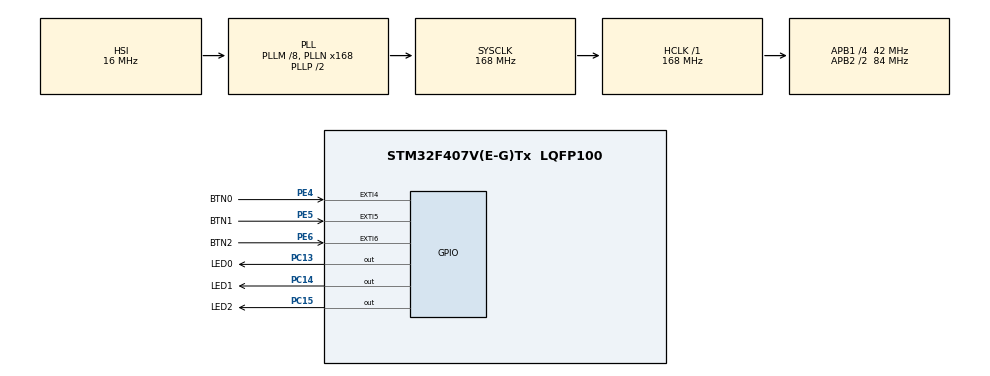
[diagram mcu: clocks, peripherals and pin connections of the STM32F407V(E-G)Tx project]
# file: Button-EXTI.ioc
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Mcu.Family=STM32F4
Mcu.Name=STM32F407V(E-G)Tx
Mcu.Package=LQFP100
NVIC.EXTI4_IRQn=true\:0\:0\:false\:false\:true\:true\:true
NVIC.EXTI9_5_IRQn=true\:0\:0\:false\:false\:true\:true\:true
NVIC.PriorityGroup=NVIC_PRIORITYGROUP_4
PC13-ANTI_TAMP.GPIO_Label=LED0
PC13-ANTI_TAMP.Signal=GPIO_Output
PC14-OSC32_IN.GPIO_Label=LED1
PC14-OSC32_IN.Signal=GPIO_Output
PC15-OSC32_OUT.GPIO_Label=LED2
PC15-OSC32_OUT.Signal=GPIO_Output
PE4.GPIO_Label=BTN0
PE4.GPIO_ModeDefaultEXTI=GPIO_MODE_IT_RISING_FALLING
PE4.GPIO_PuPd=GPIO_PULLUP
PE4.Signal=GPXTI4
PE5.GPIO_Label=BTN1
PE5.GPIO_ModeDefaultEXTI=GPIO_MODE_IT_RISING_FALLING
PE5.GPIO_PuPd=GPIO_PULLUP
PE5.Signal=GPXTI5
PE6.GPIO_Label=BTN2
PE6.GPIO_ModeDefaultEXTI=GPIO_MODE_IT_RISING_FALLING
PE6.GPIO_PuPd=GPIO_PULLUP
PE6.Signal=GPXTI6
ProjectManager.HeapSize=0x200
ProjectManager.StackSize=0x400
ProjectManager.TargetToolchain=MDK-ARM V5.27
RCC.48MHZClocksFreq_Value=84000000
RCC.AHBFreq_Value=168000000
RCC.APB1CLKDivider=RCC_HCLK_DIV4
RCC.APB1Freq_Value=42000000
RCC.APB1TimFreq_Value=84000000
RCC.APB2CLKDivider=RCC_HCLK_DIV2
RCC.APB2Freq_Value=84000000
RCC.APB2TimFreq_Value=168000000
RCC.CortexFreq_Value=168000000
RCC.HCLKFreq_Value=168000000
RCC.HSE_VALUE=25000000
RCC.HSI_VALUE=16000000
RCC.LSE_VALUE=32768
RCC.PLLM=8
RCC.PLLN=168
RCC.SYSCLKFreq_VALUE=168000000
RCC.SYSCLKSource=RCC_SYSCLKSOURCE_PLLCLK
RCC.VCOOutputFreq_Value=336000000
board=custom

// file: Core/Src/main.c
/* USER CODE BEGIN Header */
/**
  ******************************************************************************
  * @file           : main.c
  * @brief          : Main program body
  ******************************************************************************
  * @attention
  *
  * <h2><center>&copy; Copyright (c) 2023 STMicroelectronics.
  * All rights reserved.</center></h2>
  *
  * This software component is licensed by ST under BSD 3-Clause license,
  * the "License"; You may not use this file except in compliance with the
  * License. You may obtain a copy of the License at:
  *                        opensource.org/licenses/BSD-3-Clause
  *
  ******************************************************************************
  */
/* USER CODE END Header */
#include "main.h"
#include "gpio.h"

void SystemClock_Config(void);

int main(void)
{

  /* MCU Configuration--------------------------------------------------------*/

  /* Reset of all peripherals, Initializes the Flash interface and the Systick. */
  HAL_Init();

  /* Configure the system clock */
  SystemClock_Config();

  /* Initialize all configured peripherals */
  MX_GPIO_Init();

  /* Infinite loop */
  while (1)
  {

  }
}

void SystemClock_Config(void)
{
  RCC_OscInitTypeDef RCC_OscInitStruct = {0};
  RCC_ClkInitTypeDef RCC_ClkInitStruct = {0};

  /** Configure the main internal regulator output voltage
  */
  __HAL_RCC_PWR_CLK_ENABLE();
  __HAL_PWR_VOLTAGESCALING_CONFIG(PWR_REGULATOR_VOLTAGE_SCALE1);
  /** Initializes the RCC Oscillators according to the specified parameters
  * in the RCC_OscInitTypeDef structure.
  */
  RCC_OscInitStruct.OscillatorType = RCC_OSCILLATORTYPE_HSI;
  RCC_OscInitStruct.HSIState = RCC_HSI_ON;
  RCC_OscInitStruct.HSICalibrationValue = RCC_HSICALIBRATION_DEFAULT;
  RCC_OscInitStruct.PLL.PLLState = RCC_PLL_ON;
  RCC_OscInitStruct.PLL.PLLSource = RCC_PLLSOURCE_HSI;
  RCC_OscInitStruct.PLL.PLLM = 8;
  RCC_OscInitStruct.PLL.PLLN = 168;
  RCC_OscInitStruct.PLL.PLLP = RCC_PLLP_DIV2;
  RCC_OscInitStruct.PLL.PLLQ = 4;
  if (HAL_RCC_OscConfig(&RCC_OscInitStruct) != HAL_OK)
  {
    Error_Handler();
  }
  /** Initializes the CPU, AHB and APB buses clocks
  */
  RCC_ClkInitStruct.ClockType = RCC_CLOCKTYPE_HCLK|RCC_CLOCKTYPE_SYSCLK
                              |RCC_CLOCKTYPE_PCLK1|RCC_CLOCKTYPE_PCLK2;
  RCC_ClkInitStruct.SYSCLKSource = RCC_SYSCLKSOURCE_PLLCLK;
  RCC_ClkInitStruct.AHBCLKDivider = RCC_SYSCLK_DIV1;
  RCC_ClkInitStruct.APB1CLKDivider = RCC_HCLK_DIV4;
  RCC_ClkInitStruct.APB2CLKDivider = RCC_HCLK_DIV2;

  if (HAL_RCC_ClockConfig(&RCC_ClkInitStruct, FLASH_LATENCY_5) != HAL_OK)
  {
    Error_Handler();
  }
}

/* USER CODE BEGIN 4 */
void HAL_GPIO_EXTI_Callback(uint16_t pin) {
  static uint32_t nextCheck0 = 0;
  static uint32_t nextCheck1 = 0;
  static uint32_t nextCheck2 = 0;

  switch (pin) {
    case BTN0_Pin:
      if (nextCheck0 <= HAL_GetTick()) {
        if (HAL_GPIO_ReadPin(BTN0_GPIO_Port, BTN0_Pin) == GPIO_PIN_RESET) {
          // Pressed
          HAL_GPIO_TogglePin(LED0_GPIO_Port, LED0_Pin);
        }
        else {
          // Released
        }
        nextCheck0 = HAL_GetTick() + 50;
      }
      break;
    case BTN1_Pin:
      if (nextCheck1 <= HAL_GetTick()) {
        if (HAL_GPIO_ReadPin(BTN1_GPIO_Port, BTN1_Pin) == GPIO_PIN_RESET) {
          // Pressed
          HAL_GPIO_TogglePin(LED1_GPIO_Port, LED1_Pin);
        }
        else {
          // Released
        }
        nextCheck1 = HAL_GetTick() + 50;
      }
      break;
    case BTN2_Pin:
      if (nextCheck2 <= HAL_GetTick()) {
        if (HAL_GPIO_ReadPin(BTN2_GPIO_Port, BTN2_Pin) == GPIO_PIN_RESET) {
          // Pressed
          HAL_GPIO_TogglePin(LED2_GPIO_Port, LED2_Pin);
        }
        else {
          // Released
        }
        nextCheck2 = HAL_GetTick() + 50;
      }
      break;
    default:
      // Error
      break;
  }
}
/* USER CODE END 4 */

void Error_Handler(void)
{
  __disable_irq();
  while (1)
  {
  }
}

/************************ (C) COPYRIGHT STMicroelectronics *****END OF FILE****/
